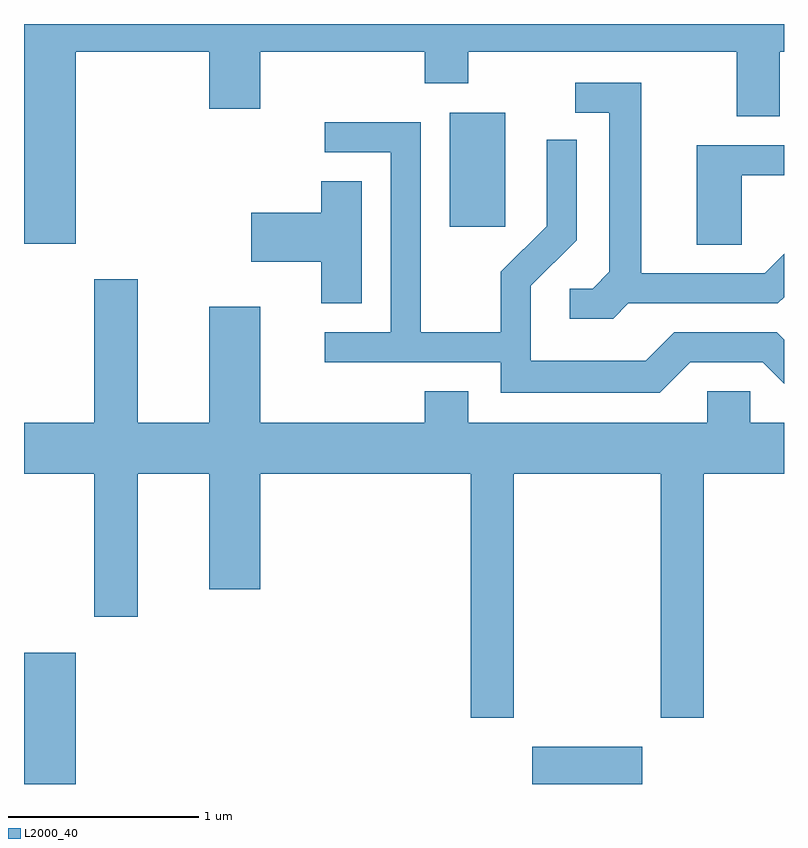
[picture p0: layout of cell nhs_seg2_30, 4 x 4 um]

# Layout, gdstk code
import gdstk
lib = gdstk.Library(unit=1e-6, precision=1e-09)
def R(c, l, rs):  # rectangles x0, y0, x1, y1
    for r in rs: c.add(gdstk.rectangle(r[:2], r[2:], *l))
def P(c, l, *ps):  # polygons
    for p in ps: c.add(gdstk.Polygon(p, *l))
L2000_40 = (2000, 40)

nhs_seg2_30 = lib.new_cell('nhs_seg2_30')
R(nhs_seg2_30, L2000_40, [(185.611,1037.802,185.884,1038.494), (188.286,1037.802,188.864,1037.999), (187.851,1040.736,188.144,1041.334)])
P(nhs_seg2_30, L2000_40, [(185.884,1041.656),(186.586,1041.656),(186.586,1041.356),(186.854,1041.356),(186.854,1041.656),(187.721,1041.656),(187.721,1041.491),(187.949,1041.491),(187.949,1041.656),(189.361,1041.656),(189.361,1041.316),(189.589,1041.316),(189.589,1041.656),(189.611,1041.656),(189.611,1041.802),(185.611,1041.802),(185.611,1040.646),(185.884,1040.646)],
  [(188.792,1040.331),(189.577,1040.331),(189.611,1040.365),(189.611,1040.592),(189.509,1040.489),(188.859,1040.489),(188.859,1041.494),(188.513,1041.494),(188.513,1041.336),(188.691,1041.336),(188.691,1040.497),(188.604,1040.409),(188.483,1040.409),(188.483,1040.251),(188.712,1040.251)],
  [(189.117,1040.021),(189.499,1040.021),(189.611,1039.909),(189.611,1040.14),(189.572,1040.179),(189.034,1040.179),(188.884,1040.029),(188.279,1040.029),(188.279,1040.424),(188.519,1040.664),(188.519,1041.193),(188.361,1041.193),(188.361,1040.737),(188.121,1040.497),(188.121,1040.179),(187.699,1040.179),(187.699,1041.284),(187.193,1041.284),(187.193,1041.126),(187.541,1041.126),(187.541,1040.179),(187.193,1040.179),(187.193,1040.021),(188.121,1040.021),(188.121,1039.861),(188.957,1039.861)],
  [(189.389,1041.006),(189.611,1041.006),(189.611,1041.164),(189.151,1041.164),(189.151,1040.641),(189.389,1040.641)],
  [(187.389,1040.974),(187.176,1040.974),(187.176,1040.809),(186.806,1040.809),(186.806,1040.551),(187.176,1040.551),(187.176,1040.331),(187.389,1040.331)],
  [(188.189,1039.436),(188.961,1039.436),(188.961,1038.151),(189.189,1038.151),(189.189,1039.436),(189.611,1039.436),(189.611,1039.704),(189.434,1039.704),(189.434,1039.869),(189.206,1039.869),(189.206,1039.704),(187.949,1039.704),(187.949,1039.869),(187.721,1039.869),(187.721,1039.704),(186.854,1039.704),(186.854,1040.314),(186.586,1040.314),(186.586,1039.704),(186.209,1039.704),(186.209,1040.459),(185.981,1040.459),(185.981,1039.704),(185.611,1039.704),(185.611,1039.436),(185.981,1039.436),(185.981,1038.681),(186.209,1038.681),(186.209,1039.436),(186.586,1039.436),(186.586,1038.826),(186.854,1038.826),(186.854,1039.436),(187.961,1039.436),(187.961,1038.151),(188.189,1038.151)])

lib.write_gds('nhs_seg2_30.gds')
